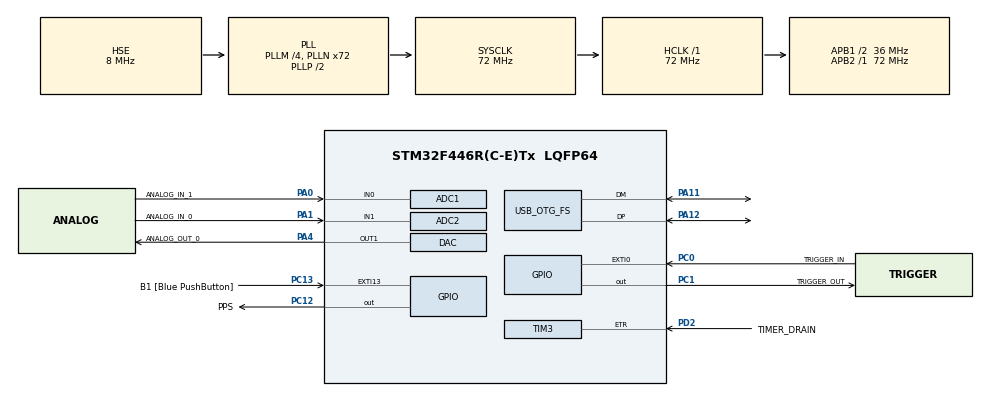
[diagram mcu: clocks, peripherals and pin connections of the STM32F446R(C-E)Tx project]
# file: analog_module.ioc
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ADC1.Channel-0\#ChannelRegularConversion=ADC_CHANNEL_0
ADC1.ClockPrescaler=ADC_CLOCK_SYNC_PCLK_DIV2
ADC1.ContinuousConvMode=ENABLE
ADC1.DMAContinuousRequests=ENABLE
ADC1.DataAlign=ADC_DATAALIGN_RIGHT
ADC1.DiscontinuousConvMode=DISABLE
ADC1.EOCSelection=ADC_EOC_SINGLE_CONV
ADC1.EnableAnalogWatchDog=false
ADC1.ExternalTrigConv=ADC_EXTERNALTRIGCONV_T2_TRGO
ADC1.ExternalTrigConvEdge=ADC_EXTERNALTRIGCONVEDGE_RISING
ADC1.InjNumberOfConversion=0
ADC1.NbrOfConversion=1
ADC1.NbrOfConversionFlag=1
ADC1.Rank-0\#ChannelRegularConversion=1
ADC1.Resolution=ADC_RESOLUTION_12B
ADC1.SamplingTime-0\#ChannelRegularConversion=ADC_SAMPLETIME_84CYCLES
ADC1.ScanConvMode=DISABLE
ADC1.master=1
ADC2.Channel-0\#ChannelRegularConversion=ADC_CHANNEL_1
ADC2.ContinuousConvMode=ENABLE
ADC2.DMAContinuousRequests=ENABLE
ADC2.ExternalTrigConv=ADC_EXTERNALTRIGCONV_T2_TRGO
ADC2.NbrOfConversionFlag=1
ADC2.Rank-0\#ChannelRegularConversion=1
ADC2.SamplingTime-0\#ChannelRegularConversion=ADC_SAMPLETIME_84CYCLES
ADC2.ScanConvMode=DISABLE
DAC.DAC_Trigger=DAC_TRIGGER_T6_TRGO
Dma.ADC1.1.Direction=DMA_PERIPH_TO_MEMORY
Dma.ADC1.1.FIFOMode=DMA_FIFOMODE_DISABLE
Dma.ADC1.1.Instance=DMA2_Stream0
Dma.ADC1.1.MemDataAlignment=DMA_MDATAALIGN_HALFWORD
Dma.ADC1.1.MemInc=DMA_MINC_ENABLE
Dma.ADC1.1.Mode=DMA_CIRCULAR
Dma.ADC1.1.PeriphDataAlignment=DMA_PDATAALIGN_HALFWORD
Dma.ADC1.1.PeriphInc=DMA_PINC_DISABLE
Dma.ADC1.1.Priority=DMA_PRIORITY_LOW
Dma.ADC2.0.Direction=DMA_PERIPH_TO_MEMORY
Dma.ADC2.0.FIFOMode=DMA_FIFOMODE_DISABLE
Dma.ADC2.0.Instance=DMA2_Stream2
Dma.ADC2.0.MemDataAlignment=DMA_MDATAALIGN_HALFWORD
Dma.ADC2.0.MemInc=DMA_MINC_ENABLE
Dma.ADC2.0.Mode=DMA_CIRCULAR
Dma.ADC2.0.PeriphDataAlignment=DMA_PDATAALIGN_HALFWORD
Dma.ADC2.0.PeriphInc=DMA_PINC_DISABLE
Dma.ADC2.0.Priority=DMA_PRIORITY_LOW
Dma.DAC1.2.Direction=DMA_MEMORY_TO_PERIPH
Dma.DAC1.2.FIFOMode=DMA_FIFOMODE_DISABLE
Dma.DAC1.2.Instance=DMA1_Stream5
Dma.DAC1.2.MemDataAlignment=DMA_MDATAALIGN_HALFWORD
Dma.DAC1.2.MemInc=DMA_MINC_ENABLE
Dma.DAC1.2.Mode=DMA_CIRCULAR
Dma.DAC1.2.PeriphDataAlignment=DMA_PDATAALIGN_HALFWORD
Dma.DAC1.2.PeriphInc=DMA_PINC_DISABLE
Dma.DAC1.2.Priority=DMA_PRIORITY_LOW
Dma.Request0=ADC2
Dma.Request1=ADC1
Dma.Request2=DAC1
Mcu.Family=STM32F4
Mcu.Name=STM32F446R(C-E)Tx
Mcu.Package=LQFP64
NVIC.ADC_IRQn=true\:0\:0\:false\:false\:true\:true
NVIC.DMA1_Stream5_IRQn=true\:0\:0\:false\:false\:true\:false
NVIC.DMA2_Stream0_IRQn=true\:0\:0\:false\:false\:true\:false
NVIC.DMA2_Stream2_IRQn=true\:0\:0\:false\:false\:true\:false
NVIC.OTG_FS_IRQn=true\:0\:0\:false\:false\:true\:false
NVIC.PriorityGroup=NVIC_PRIORITYGROUP_0
NVIC.TIM3_IRQn=true\:0\:0\:false\:false\:true\:true
PA0-WKUP.GPIO_Label=ANALOG_IN_1
PA0-WKUP.Signal=ADCx_IN0
PA1.GPIO_Label=ANALOG_IN_0
PA1.Signal=ADCx_IN1
PA11.Mode=Device_Only
PA11.Signal=USB_OTG_FS_DM
PA12.Mode=Device_Only
PA12.Signal=USB_OTG_FS_DP
PA13.GPIO_Label=TMS
PA13.Mode=Serial_Wire
PA13.Signal=SYS_JTMS-SWDIO
PA14.GPIO_Label=TCK
PA14.Mode=Serial_Wire
PA14.Signal=SYS_JTCK-SWCLK
PA4.GPIO_Label=ANALOG_OUT_0
PA4.Signal=COMP_DAC1_group
PB3.GPIO_Label=SWO
PB3.Signal=SYS_JTDO-SWO
PC0.GPIO_Label=TRIGGER_IN
PC0.GPIO_PuPd=GPIO_PULLDOWN
PC0.Signal=GPXTI0
PC1.GPIO_Label=TRIGGER_OUT
PC1.GPIO_PuPd=GPIO_PULLDOWN
PC1.Signal=GPIO_Output
PC12.GPIO_Label=PPS
PC12.Signal=GPIO_Output
PC13.GPIO_Label=B1 [Blue PushButton]
PC13.GPIO_ModeDefaultEXTI=GPIO_MODE_IT_FALLING
PC13.Signal=GPXTI13
PC14-OSC32_IN.Mode=LSE-External-Oscillator
PC14-OSC32_IN.Signal=RCC_OSC32_IN
PC15-OSC32_OUT.Mode=LSE-External-Oscillator
PC15-OSC32_OUT.Signal=RCC_OSC32_OUT
PD2.GPIO_Label=TIMER_DRAIN
PD2.GPIO_PuPd=GPIO_PULLDOWN
PD2.Signal=S_TIM3_ETR
PH0-OSC_IN.Mode=HSE-External-Oscillator
PH0-OSC_IN.Signal=RCC_OSC_IN
PH1-OSC_OUT.Mode=HSE-External-Oscillator
PH1-OSC_OUT.Signal=RCC_OSC_OUT
ProjectManager.HeapSize=0x200
ProjectManager.StackSize=0x400
ProjectManager.TargetToolchain=TrueSTUDIO
RCC.48MHZClocksFreq_Value=84000000
RCC.AHBFreq_Value=72000000
RCC.APB1CLKDivider=RCC_HCLK_DIV2
RCC.APB1Freq_Value=36000000
RCC.APB1TimFreq_Value=72000000
RCC.APB2Freq_Value=72000000
RCC.APB2TimFreq_Value=72000000
RCC.CortexFreq_Value=72000000
RCC.FLatency-AdvancedSettings=FLASH_LATENCY_2
RCC.HCLKFreq_Value=72000000
RCC.HSE_VALUE=8000000
RCC.HSI_VALUE=16000000
RCC.PLLM=4
RCC.PLLN=72
RCC.PLLQ=3
RCC.SYSCLKFreq_VALUE=72000000
RCC.SYSCLKSource=RCC_SYSCLKSOURCE_PLLCLK
RCC.USBFreq_Value=48000000
RCC.VCOOutputFreq_Value=144000000
SH.ADCx_IN0.0=ADC1_IN0,IN0
SH.ADCx_IN1.0=ADC2_IN1,IN1
SH.COMP_DAC1_group.0=DAC_OUT1,DAC_OUT1
SH.S_TIM3_ETR.0=TIM3_ETR,ClockSourceETR_Mode2
TIM2.Period=869
TIM2.TIM_MasterOutputTrigger=TIM_TRGO_UPDATE
TIM3.Period=4
TIM3.TIM_MasterOutputTrigger=TIM_TRGO_UPDATE
TIM6.Period=5000
TIM6.TIM_MasterOutputTrigger=TIM_TRGO_UPDATE
USB_DEVICE.CLASS_NAME_FS=CUSTOMHID
USB_DEVICE.VirtualMode-CUSTOM_HID_FS=CustomHid
USB_DEVICE.VirtualModeFS=Custom_Hid_FS
USB_OTG_FS.VirtualMode=Device_Only
VP_TIM2_VS_ClockSourceINT.Mode=Internal
VP_TIM6_VS_ClockSourceINT.Mode=Enable_Timer
VP_USB_DEVICE_VS_USB_DEVICE_CUSTOM_HID_FS.Mode=CUSTOM_HID_FS
board=NUCLEO-F446RE

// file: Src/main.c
/**
  ******************************************************************************
  * @file           : main.c
  * @brief          : Main program body
  ******************************************************************************
  * This notice applies to any and all portions of this file
  * that are not between comment pairs USER CODE BEGIN and
  * USER CODE END. Other portions of this file, whether
  * inserted by the user or by software development tools
  * are owned by their respective copyright owners.
  *
  * Copyright (c) 2018 STMicroelectronics International N.V.
  * All rights reserved.
  *
  * Redistribution and use in source and binary forms, with or without
  * modification, are permitted, provided that the following conditions are met:
  *
  * 1. Redistribution of source code must retain the above copyright notice,
  *    this list of conditions and the following disclaimer.
  * 2. Redistributions in binary form must reproduce the above copyright notice,
  *    this list of conditions and the following disclaimer in the documentation
  *    and/or other materials provided with the distribution.
  * 3. Neither the name of STMicroelectronics nor the names of other
  *    contributors to this software may be used to endorse or promote products
  *    derived from this software without specific written permission.
  * 4. This software, including modifications and/or derivative works of this
  *    software, must execute solely and exclusively on microcontroller or
  *    microprocessor devices manufactured by or for STMicroelectronics.
  * 5. Redistribution and use of this software other than as permitted under
  *    this license is void and will automatically terminate your rights under
  *    this license.
  *
  * THIS SOFTWARE IS PROVIDED BY STMICROELECTRONICS AND CONTRIBUTORS "AS IS"
  * AND ANY EXPRESS, IMPLIED OR STATUTORY WARRANTIES, INCLUDING, BUT NOT
  * LIMITED TO, THE IMPLIED WARRANTIES OF MERCHANTABILITY, FITNESS FOR A
  * PARTICULAR PURPOSE AND NON-INFRINGEMENT OF THIRD PARTY INTELLECTUAL PROPERTY
  * RIGHTS ARE DISCLAIMED TO THE FULLEST EXTENT PERMITTED BY LAW. IN NO EVENT
  * SHALL STMICROELECTRONICS OR CONTRIBUTORS BE LIABLE FOR ANY DIRECT, INDIRECT,
  * INCIDENTAL, SPECIAL, EXEMPLARY, OR CONSEQUENTIAL DAMAGES (INCLUDING, BUT NOT
  * LIMITED TO, PROCUREMENT OF SUBSTITUTE GOODS OR SERVICES; LOSS OF USE, DATA,
  * OR PROFITS; OR BUSINESS INTERRUPTION) HOWEVER CAUSED AND ON ANY THEORY OF
  * LIABILITY, WHETHER IN CONTRACT, STRICT LIABILITY, OR TORT (INCLUDING
  * NEGLIGENCE OR OTHERWISE) ARISING IN ANY WAY OUT OF THE USE OF THIS SOFTWARE,
  * EVEN IF ADVISED OF THE POSSIBILITY OF SUCH DAMAGE.
  *
  ******************************************************************************
  */
#include "main.h"
#include "stm32f4xx_hal.h"
#include "adc.h"
#include "dac.h"
#include "dma.h"
#include "tim.h"
#include "usb_device.h"
#include "gpio.h"

/* USER CODE BEGIN Includes */
#include "usbd_analog_io.h"
#include <math.h>

/* USER CODE END Includes */

/* USER CODE BEGIN PV */
/* Private variables ---------------------------------------------------------*/
#define SAMPLES 200
/* USER CODE END PV */

void SystemClock_Config(void);

/* USER CODE BEGIN PFP */
/* Private function prototypes -----------------------------------------------*/

/* USER CODE END PFP */

/* USER CODE BEGIN 0 */
uint16_t adc2[20] = {0};
uint16_t adc1[20] = {0};
uint16_t sinus[200];
uint16_t constant[200]= {500};
uint8_t input_report[7] = {0};
uint8_t flag = 0;
uint8_t output_report[64] = {0};
uint8_t trig_event_to_delete = 0;
/* USER CODE END 0 */

int main(void)
{
  /* USER CODE BEGIN 1 */
	uint16_t sample;
	for (uint8_t i = 0; i < SAMPLES; i++)
	{
		sample = (uint16_t)rint(( sin(i*2*3.14/SAMPLES)+1)*1024 );
		if (sample >= 4095)
		{
			sinus[i] = 4095;
		}
		else
		{
			sinus[i] = sample;
		}
	}
	for (uint8_t i = 0; i < SAMPLES; i++)
	{
		constant[i] = 1000;
	}
  /* USER CODE END 1 */

  /* MCU Configuration----------------------------------------------------------*/

  /* Reset of all peripherals, Initializes the Flash interface and the Systick. */
  HAL_Init();

  /* Configure the system clock */
  SystemClock_Config();

  /* Initialize all configured peripherals */
  MX_GPIO_Init();
  MX_DMA_Init();
  MX_USB_DEVICE_Init();
  MX_ADC1_Init();
  MX_ADC2_Init();
  MX_DAC_Init();
  MX_TIM2_Init();
  MX_TIM6_Init();
  MX_TIM3_Init();
  /* USER CODE BEGIN 2 */
  USBD_HID_Analog_IO_Init(&analog_io);

  // DAC ==========================================
   HAL_DAC_Init(&hdac);
   HAL_TIM_Base_Start(&htim6);
   HAL_DAC_Start_DMA(&hdac, DAC_CHANNEL_1, (uint32_t*)sinus, SAMPLES, DAC_ALIGN_12B_R);
   // ADC ==========================================
   HAL_TIM_Base_Start_IT(&htim2);
   HAL_ADC_Start_DMA(&hadc1, (uint32_t*)adc1, 20);
   HAL_ADC_Start_DMA(&hadc2, (uint32_t*)adc2, 20);

   HAL_TIM_Base_Start_IT(&htim3);
  /* USER CODE END 2 */

  /* Infinite loop */
  /* USER CODE BEGIN WHILE */
  while (1)
  {
	  uint8_t i = 0;
  /* USER CODE END WHILE */

  /* USER CODE BEGIN 3 */
		  analog_io.in[0] = adc1[0];
		  analog_io.in[1] = adc2[0];

		  for(i = 0; i < ANALOG_IO_MAX_TRIG_NUM; i++)
			{
				if(analog_io_do_trigger != TRIGGERED)
				{
					analog_io_do_trigger = USBD_HID_Analog_IO_Check_Trigger_Event(analog_io_trig_events, i);
					if (analog_io_do_trigger == TRIGGERED)
					{
						trig_event_to_delete = i;
					}
				}
			}

			if(analog_io_do_trigger == TRIGGERED)
			{
				HAL_GPIO_WritePin(TRIGGER_OUT_GPIO_Port, TRIGGER_OUT_Pin, GPIO_PIN_SET);
				analog_io_do_trigger = DO_TRIGGER;
				USBD_HID_Analog_IO_Reset_Trigger_Event(&analog_io_trig_events[trig_event_to_delete]);
			}

			// Create and send digital IO report
			if (analog_io_report_flag == SEND_REPORT)
			{
			  USBD_HID_Analog_IO_CreateReport(input_report);
			  USBD_CUSTOM_HID_SendReport(&hUsbDeviceFS,(uint8_t*)&input_report, 4);
			  analog_io_report_flag = NO_REPORT;
			}

			// Store digital IO changes
			if (analog_io_change_flag == CHANGED)
			{
				USBD_HID_Analog_IO_Init(&analog_io_new_state);
				USBD_HID_Analog_IO_Set_Changes(output_report);
				analog_io_change_flag = UNCHANGED;
				analog_io_change_enable = 1;
			}
	  //}
  }
  /* USER CODE END 3 */

}

void SystemClock_Config(void)
{

  RCC_OscInitTypeDef RCC_OscInitStruct;
  RCC_ClkInitTypeDef RCC_ClkInitStruct;
  RCC_PeriphCLKInitTypeDef PeriphClkInitStruct;

    /**Configure the main internal regulator output voltage
    */
  __HAL_RCC_PWR_CLK_ENABLE();

  __HAL_PWR_VOLTAGESCALING_CONFIG(PWR_REGULATOR_VOLTAGE_SCALE3);

    /**Initializes the CPU, AHB and APB busses clocks
    */
  RCC_OscInitStruct.OscillatorType = RCC_OSCILLATORTYPE_HSE;
  RCC_OscInitStruct.HSEState = RCC_HSE_ON;
  RCC_OscInitStruct.PLL.PLLState = RCC_PLL_ON;
  RCC_OscInitStruct.PLL.PLLSource = RCC_PLLSOURCE_HSE;
  RCC_OscInitStruct.PLL.PLLM = 4;
  RCC_OscInitStruct.PLL.PLLN = 72;
  RCC_OscInitStruct.PLL.PLLP = RCC_PLLP_DIV2;
  RCC_OscInitStruct.PLL.PLLQ = 3;
  RCC_OscInitStruct.PLL.PLLR = 2;
  if (HAL_RCC_OscConfig(&RCC_OscInitStruct) != HAL_OK)
  {
    _Error_Handler(__FILE__, __LINE__);
  }

    /**Initializes the CPU, AHB and APB busses clocks
    */
  RCC_ClkInitStruct.ClockType = RCC_CLOCKTYPE_HCLK|RCC_CLOCKTYPE_SYSCLK
                              |RCC_CLOCKTYPE_PCLK1|RCC_CLOCKTYPE_PCLK2;
  RCC_ClkInitStruct.SYSCLKSource = RCC_SYSCLKSOURCE_PLLCLK;
  RCC_ClkInitStruct.AHBCLKDivider = RCC_SYSCLK_DIV1;
  RCC_ClkInitStruct.APB1CLKDivider = RCC_HCLK_DIV2;
  RCC_ClkInitStruct.APB2CLKDivider = RCC_HCLK_DIV1;

  if (HAL_RCC_ClockConfig(&RCC_ClkInitStruct, FLASH_LATENCY_2) != HAL_OK)
  {
    _Error_Handler(__FILE__, __LINE__);
  }

  PeriphClkInitStruct.PeriphClockSelection = RCC_PERIPHCLK_CLK48;
  PeriphClkInitStruct.Clk48ClockSelection = RCC_CLK48CLKSOURCE_PLLQ;
  if (HAL_RCCEx_PeriphCLKConfig(&PeriphClkInitStruct) != HAL_OK)
  {
    _Error_Handler(__FILE__, __LINE__);
  }

    /**Configure the Systick interrupt time
    */
  HAL_SYSTICK_Config(HAL_RCC_GetHCLKFreq()/1000);

    /**Configure the Systick
    */
  HAL_SYSTICK_CLKSourceConfig(SYSTICK_CLKSOURCE_HCLK);

  /* SysTick_IRQn interrupt configuration */
  HAL_NVIC_SetPriority(SysTick_IRQn, 0, 0);
}

/* USER CODE BEGIN 4 */
void USB_RX_Interrupt(void)
{
	uint8_t i;
	HID_ANALOG_IO_Output length = LENGTH_NOTHING;
	USBD_CUSTOM_HID_HandleTypeDef *myusb=(USBD_CUSTOM_HID_HandleTypeDef *)hUsbDeviceFS.pClassData;

	//Clear arr
	for(i=0;i<64;i++)
	{
		output_report[i]=0;
	}

	// First byte contains numbers of datas in byte length
	length = myusb->Report_buf[0];

	// Copy the output report
	for( i = 0; i < length; i++ )
	{
		output_report[i]=myusb->Report_buf[i+1];
	}

	// Handle report based on the length
	switch (length)
	{
		case LENGTH_NOTHING:
			break;
		case LENGTH_TRIGGER_EVENT:
			USBD_HID_Analog_IO_Process_Trigger_Event(output_report, analog_io_trig_events);
			break;
		case LENGTH_TRIGGER:
			// Defend to the multiple triggering
			if (analog_io_change_enable)
			{
				USBD_HID_Analog_IO_Trigger(output_report);
			}
			break;
		case LENGTH_ANALOG_IO:
			analog_io_change_flag = CHANGED;
			break;
		default:
			break;
	}

	// Test answer
	/*HAL_GPIO_WritePin(LD2_GPIO_Port, LD2_Pin, GPIO_PIN_RESET);
	input_report[1] = 1;
	USBD_CUSTOM_HID_SendReport(&hUsbDeviceFS,(uint8_t*)&input_report, 11);*/
}
/* USER CODE END 4 */

void _Error_Handler(char *file, int line)
{
  while(1)
  {
  }
}

/************************ (C) COPYRIGHT STMicroelectronics *****END OF FILE****/
